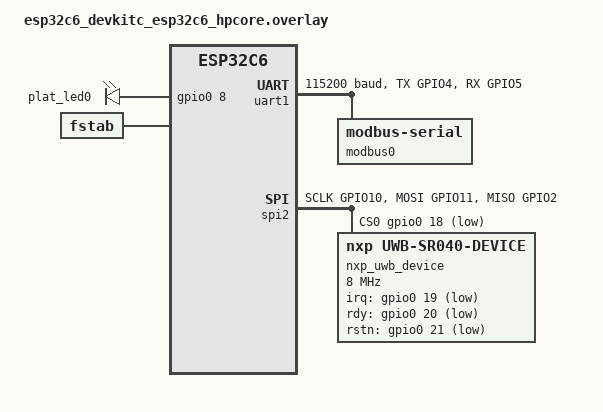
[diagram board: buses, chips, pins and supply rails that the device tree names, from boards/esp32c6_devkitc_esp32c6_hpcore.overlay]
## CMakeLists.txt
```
# SPDX-License-Identifier: Apache-2.0
#
# 冒烟应用（应用开发层）。
# 必须在 find_package(Zephyr) 之前挂接树外平台模块。

cmake_minimum_required(VERSION 3.20.0)

list(APPEND ZEPHYR_EXTRA_MODULES ${CMAKE_CURRENT_SOURCE_DIR}/../platform)

# Atmosic SDK（openair）提供 ATM34xx SoC 定义。当前工作区的 .west/config 以
# zephyr/west.yml 为清单，根 west.yml 中的 atmosic 项目不会被 west 发现，
# 故仅 atm3405 板卡显式挂接该模块（与 app/build_all.ps1 按板卡拆分的策略一致），
# 避免其他板卡加载 Atmosic 模块。
if(BOARD STREQUAL "atm3405_custom")
  list(APPEND ZEPHYR_EXTRA_MODULES ${CMAKE_CURRENT_SOURCE_DIR}/../modules/hal/atmosic)
endif()

# 将 esp-openocd 位置注入 CMake 变量（board.cmake 只认 CMake 变量，不认环境变量）。
# 路径来源（优先级从高到低，均不写死用户名/盘符）：
#   1) 环境变量 ESPRESSIF_TOOLCHAIN_PATH（指向 openocds 根，其下含 openocd-esp32）
#   2) %USERPROFILE%\.zinstaller\tools\openocds（Workbench 默认安装位置）
# 必须同时满足 board.cmake 的两步：
#   1) 正则校验 OPENOCD 路径以 ${ESPRESSIF_TOOLCHAIN_PATH}/ 开头（需正斜杠路径）
#   2) find_program 在 ${ESPRESSIF_TOOLCHAIN_PATH}/openocd-esp32/bin 下找到 openocd.exe
if(DEFINED ENV{ESPRESSIF_TOOLCHAIN_PATH} AND NOT "$ENV{ESPRESSIF_TOOLCHAIN_PATH}" STREQUAL "")
  file(TO_CMAKE_PATH "$ENV{ESPRESSIF_TOOLCHAIN_PATH}" _esp_openocd_root)
else()
  file(TO_CMAKE_PATH "$ENV{USERPROFILE}/.zinstaller/tools/openocds" _esp_openocd_root)
endif()
# 兼容旧写法：变量指向 openocd-esp32 子目录时上溯到 openocds 根
if(_esp_openocd_root MATCHES "openocd-esp32/?$")
  get_filename_component(_esp_openocd_root "${_esp_openocd_root}" DIRECTORY)
endif()
set(ESPRESSIF_TOOLCHAIN_PATH "${_esp_openocd_root}"
    CACHE PATH "Espressif toolchain root" FORCE)
set(OPENOCD "${_esp_openocd_root}/openocd-esp32/bin/openocd.exe"
    CACHE FILEPATH "OpenOCD executable" FORCE)
# 脚本搜索路径必须指向乐鑫 fork 版脚本（含 create_esp_target 等私有命令），
# 否则 Zephyr 会自动混入 SDK hosttools 里的原版 openocd 脚本导致版本错配。
set(OPENOCD_DEFAULT_PATH "${_esp_openocd_root}/openocd-esp32/share/openocd/scripts"
    CACHE PATH "OpenOCD scripts search path" FORCE)

# 首选环境变量 ZEPHYR_BASE；未设置时回退到工作区内的 zephyr/，
# 避免 pristine 构建（缓存被清空）时找不到 ZephyrConfig.cmake。
find_package(Zephyr REQUIRED HINTS $ENV{ZEPHYR_BASE} ${CMAKE_CURRENT_SOURCE_DIR}/../zephyr)
project(platform_smoke LANGUAGES C)

target_include_directories(app PRIVATE src)

target_sources(app PRIVATE
  src/main.c
  src/app_lifecycle.c
  src/app_state_machine.c
  src/app_kernel_demo.c
  src/app_services_demo.c
  src/app_middleware_demo.c
)

# 修复 nxp-uwbiot SDK 在 Zephyr 下 __NOP() 未定义（不改动厂商 SDK modules/）：
# SDK 的 halimpl 源码 phNxpUwb_Common.c 在 FreeRTOS 分支用 CMSIS 的 __NOP()，
# Zephyr 分支未提供，而 Zephyr 开启 -Werror=implicit-int 会报隐式声明错误。
# CMake 会丢弃"函数式"宏定义（__NOP()=arch_nop() 无法通过 -D 传递），故改用
# 强制包含兼容头（提供 __NOP() -> arch_nop()）的方式，与 modules/hal/espressif
# 的 zephyr_compat.h 机制相同。经 zephyr_interface 注入 INTERFACE 编译选项，
# 传播到 halimpl 等所有链接 zephyr_interface 的目标。
# 注：halimpl 由 nxp-uwbiot 模块以 zephyr_library_named() 延迟创建，配置阶段
# if(TARGET halimpl) 恒为 false，无法直接对其注入；故作用于 zephyr_interface。
set(UWB_SDK_COMPAT_H
    ${CMAKE_CURRENT_SOURCE_DIR}/../platform/include/platform/uwb_sdk_compat.h)
if(TARGET zephyr_interface)
  target_compile_options(zephyr_interface INTERFACE
    "SHELL:-include ${UWB_SDK_COMPAT_H}")
endif()
```

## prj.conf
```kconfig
#
# 平台冒烟应用通用配置（qemu_cortex_m3 / qemu_riscv64 共用）
# 板卡差异放在 boards/<board>.conf 与 boards/<board>.overlay
#

# ---- 内核服务层：线程/调度/事件 ------------------------------------------
CONFIG_MAIN_STACK_SIZE=2048
# FSM 延迟工作项运行在系统工作队列（64 位 RISC-V 下预留充足栈）
CONFIG_SYSTEM_WORKQUEUE_STACK_SIZE=2048
CONFIG_THREAD_NAME=y
CONFIG_THREAD_STACK_INFO=y
CONFIG_THREAD_MONITOR=y
CONFIG_THREAD_RUNTIME_STATS=y
CONFIG_EVENTS=y

# ---- 硬件抽象层：GPIO/UART/SPI/I2C ----------------------------------------
CONFIG_GPIO=y
CONFIG_SERIAL=y
# CONFIG_SPI 与 CONFIG_I2C 由板级 conf 按需启用（依赖具体外设节点）

# ---- 系统服务层：日志（多后端/级别控制）+ 串口 Shell ----------------------
CONFIG_LOG=y
# v4.4：日志级别为整数（0..4），3=INFO
CONFIG_LOG_DEFAULT_LEVEL=3
CONFIG_SHELL=y
CONFIG_SHELL_BACKEND_SERIAL=y
CONFIG_SHELL_STACK_SIZE=4096
CONFIG_DEBUG_THREAD_INFO=y

# ---- 存储中间件：settings KV，QEMU 下使用 RAM 后端 ------------------------
CONFIG_SETTINGS=y
CONFIG_SETTINGS_NONE=y

# ---- 平台框架（树外模块 platform/） ----------------------------------------
CONFIG_PLATFORM_SERVICES=y
CONFIG_PLAT_DEVICE_MGMT=y
CONFIG_PLAT_PM=y
CONFIG_PLAT_MW_STORAGE=y
CONFIG_PLAT_MW_DATA=y
# CONFIG_PLAT_MONITOR 在设备树存在 plat,platform-monitor 节点时默认 y
# 通信（Modbus）与 UWB（SR040）由板级 conf 按需启用（依赖具体外设节点）

# ---- 虚拟文件系统（LittleFS） ----------------------------------------------
# 需板级 overlay 提供 fstab 节点；QEMU 下无 flash 分区，故不默认启用
# CONFIG_FILE_SYSTEM=y
# CONFIG_FILE_SYSTEM_LITTLEFS=y
# CONFIG_FILE_SYSTEM_LIB_LINK=y
# CONFIG_PLAT_FS=y

# ---- 网络协议栈（IPv4 + MQTT） ----------------------------------------------
# 需板级 conf 启用 WiFi 及相应网络配置；无网络接口的平台不启用
# CONFIG_NETWORKING=y
# CONFIG_NET_IPV4=y
# CONFIG_WIFI=y
# CONFIG_MQTT_LIB=y
# CONFIG_PLAT_NET=y
```

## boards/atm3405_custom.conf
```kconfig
# atm3405_custom（ATM3405-WQK）板级差异配置

# ---- 外设驱动 --------------------------------------------------------------
# SPI 启用：UWB SR040 挂 SPI0（见 overlay nxp_uwb_device）；I2C 仍不启用
CONFIG_SPI=y
# CONFIG_I2C=y

# ---- 中间件：UWB（NXP SR040 @ SPI0） -----------------------------------------
CONFIG_NXP_UWB_ZEPHYR_MODULE=y
CONFIG_NXP_UWB_DEVICE_SR040=y
CONFIG_PLAT_MW_UWB=y
# SDK zephyr_generic 层用 spi_transceive_cb（异步 SPI），需启用
CONFIG_SPI_ASYNC=y

# ---- 虚拟文件系统 ----------------------------------------------------------
# RRAM 上的 LittleFS 需要 Atmosic 官方驱动适配，当前跳过
# CONFIG_FILE_SYSTEM is not set

# ---- 网络协议栈 ------------------------------------------------------------
# 无网络接口，预留
# CONFIG_PLAT_NET is not set

# ---- 电源管理（暂时关闭：sys_clock_correct 在 v4.4 不存在） ------------------
# CONFIG_PM=y
# CONFIG_PM_DEVICE_RUNTIME=y
```

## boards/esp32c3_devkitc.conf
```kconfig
# esp32c3_devkitc（乐鑫 ESP32-C3-DevKitC-02）板级差异配置
#
# 该板卡 defconfig 已默认启用：
#   CONFIG_CONSOLE=y, CONFIG_SERIAL=y, CONFIG_UART_CONSOLE=y, CONFIG_GPIO=y
# 因此此处无需重复声明。
#
# 与 esp32c6 相同，构建依赖 Python venv 中的 esptool>=5.0.2：
#   pip install "esptool>=5.0.2"
#
# 若通过 west flash 烧录且不使用 MCUboot，构建时可关闭 sysbuild：
#   west build -b esp32c3_devkitc app -- -DCONFIG_BOOTLOADER_MCUBOOT=n

# ---- 控制台与 shell 分离（配合 overlay 中的 chosen）----
# LOG 走独立 UART 日志后端（设备取自 zephyr,console = usb_serial，即 COM16），
# 不再借用 shell 后端，避免每条日志触发 shell 提示符重绘。
CONFIG_LOG_BACKEND_UART=y
# shell 已移至物理 UART0；关闭 shell 内嵌日志后端，防止日志同时出现在 shell 口。
CONFIG_SHELL_LOG_BACKEND=n
```

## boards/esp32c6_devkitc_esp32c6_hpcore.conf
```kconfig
# esp32c6_devkitc/esp32c6/hpcore（乐鑫 ESP32-C6-DevKitC-1）板级差异配置
#
# 该板卡 defconfig 已默认启用：
#   CONFIG_CONSOLE=y, CONFIG_SERIAL=y, CONFIG_UART_CONSOLE=y, CONFIG_GPIO=y
# 因此此处无需重复声明。
#
# 若通过 west flash 烧录且不使用 MCUboot，构建时可关闭 sysbuild：
#   west build -b esp32c6_devkitc/esp32c6/hpcore app -- -DCONFIG_BOOTLOADER_MCUBOOT=n
# 或添加 west 参数：--sysbuild=no
#
# 若使用 Workbench 构建，在 settings.json 的 build-args 中按需传入。

# ---- 网络协议栈：WiFi + IPv4 + MQTT ---------------------------------------
CONFIG_NETWORKING=y
CONFIG_NET_IPV4=y
CONFIG_NET_SOCKETS=y
CONFIG_WIFI=y
CONFIG_WIFI_ESP32=y
CONFIG_BUILD_ONLY_NO_BLOBS=y

# ---- MQTT 客户端库 ---------------------------------------------------------
CONFIG_MQTT_LIB=y
CONFIG_MQTT_KEEPALIVE=60

# ---- 虚拟文件系统（LittleFS） ----------------------------------------------
CONFIG_FLASH=y
CONFIG_FLASH_MAP=y
CONFIG_FILE_SYSTEM=y
CONFIG_FILE_SYSTEM_LITTLEFS=y
CONFIG_FILE_SYSTEM_LIB_LINK=y

# ---- 平台服务 --------------------------------------------------------------
CONFIG_PLAT_FS=y
CONFIG_PLAT_NET=y

# ---- 外设驱动 --------------------------------------------------------------
CONFIG_SPI=y
CONFIG_I2C=y

# ---- 中间件：Modbus RTU 主站（UART1 GPIO4/5，见 overlay modbus0） -----------
CONFIG_PLAT_MW_COMMUNICATION=y

# ---- 中间件：UWB（NXP SR040 @ SPI2，见 overlay nxp_uwb_device） --------------
CONFIG_NXP_UWB_ZEPHYR_MODULE=y
CONFIG_NXP_UWB_DEVICE_SR040=y
CONFIG_PLAT_MW_UWB=y
# SDK zephyr_generic 层用 spi_transceive_cb（异步 SPI），需启用
CONFIG_SPI_ASYNC=y

# ---- 存储：settings 文件后端（落 LittleFS /lfs） ---------------------------
CONFIG_SETTINGS_FILE=y
CONFIG_SETTINGS_NONE=n
```

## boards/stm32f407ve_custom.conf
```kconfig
# stm32f407ve_custom（STM32F407VET6）板级差异配置

# ---- 外设驱动 --------------------------------------------------------------
CONFIG_SPI=y
CONFIG_I2C=y

# ---- 虚拟文件系统（LittleFS） ----------------------------------------------
CONFIG_FLASH=y
CONFIG_FLASH_MAP=y
CONFIG_FILE_SYSTEM=y
CONFIG_FILE_SYSTEM_LITTLEFS=y
CONFIG_FILE_SYSTEM_LIB_LINK=y

# ---- 平台服务 --------------------------------------------------------------
CONFIG_PLAT_FS=y
# CONFIG_PLAT_NET is not set（无网络接口，预留）

# ---- 中间件：Modbus RTU 主站（USART2 PA2/PA3，见 overlay modbus0） ----------
CONFIG_PLAT_MW_COMMUNICATION=y

# ---- 中间件：UWB（NXP SR040 @ SPI1，见 overlay nxp_uwb_device） --------------
CONFIG_NXP_UWB_ZEPHYR_MODULE=y
CONFIG_NXP_UWB_DEVICE_SR040=y
CONFIG_PLAT_MW_UWB=y
# SDK zephyr_generic 层用 spi_transceive_cb（异步 SPI），需启用
CONFIG_SPI_ASYNC=y

# ---- 存储：settings 文件后端（落 LittleFS /lfs） ---------------------------
CONFIG_SETTINGS_FILE=y
CONFIG_SETTINGS_NONE=n
```

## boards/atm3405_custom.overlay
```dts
// SPDX-License-Identifier: Apache-2.0
//
// atm3405_custom（ATM3405-WQK，QFN 5x5，Cortex-M33F）板级设备树扩展：
//   - plat-led0：桥接到板级 led0（gpio0 pin7），供 app_kernel_demo 翻转
//   - platform-monitor：自研骨架驱动实例（纯软件设备，验证 DT_INST 实例化链路）
//   - SPI/I2C：SoC 已提供，当前未启用（无外部设备连接）

/ {
	aliases {
		plat-led0 = &led0;
	};

	plat_monitor0: platform-monitor {
		compatible = "plat,platform-monitor";
		report-interval-ms = <1000>;
		status = "okay";
	};
};

/* SPI0：UWB SR040（SCLK=P13 / MOSI=P14 / MISO=P15，CS=P12 软件 GPIO 控制）。
 * atmosic pinctrl 驱动对 pin/signal 组合自由路由（pinctrl_atm.c 未做校验）。 */
&pinctrl {
	spi0_clk_default: spi0_clk_default {
		pinmux = <13 PINMUX_SPI0_CLK>;
	};

	spi0_mosi_default: spi0_mosi_default {
		pinmux = <14 PINMUX_SPI0_MOSI>;
	};

	spi0_miso_default: spi0_miso_default {
		pinmux = <15 PINMUX_SPI0_MISO>;
	};
};

&spi0 {
	status = "okay";
	pinctrl-0 = <&spi0_clk_default &spi0_mosi_default &spi0_miso_default>;
	pinctrl-names = "default";
	cs-gpios = <&gpio0 12 GPIO_ACTIVE_LOW>;

	/* NXP SR040：label 必须为 nxp_uwb_device（SDK zephyr_generic 层 DT_NODELABEL 硬编码）。
	 * IRQ/RDY 低有效+上拉（SDK 配下降沿中断），RSTN 低有效（高=运行）。SPI 模式 CPOL=1。 */
	nxp_uwb_device: nxp_uwb_device@0 {
		compatible = "nxp,uwb-sr040-device";
		reg = <0>;
		spi-max-frequency = <8000000>;
		uwb,irq-gpios  = <&gpio0 29 (GPIO_ACTIVE_LOW | GPIO_PULL_UP)>;
		uwb,rdy-gpios  = <&gpio0 19 (GPIO_ACTIVE_LOW | GPIO_PULL_UP)>;
		uwb,rstn-gpios = <&gpio0 18 GPIO_ACTIVE_LOW>;
	};
};
```

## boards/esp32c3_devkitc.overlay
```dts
// SPDX-License-Identifier: Apache-2.0
//
// esp32c3_devkitc（乐鑫 ESP32-C3-DevKitC-02，32 位单核 RISC-V，WROOM-02 模组）
// 板级设备树扩展：
//   - plat-led0：复用片上 gpio0 的 8 脚（板载 WS2812 可寻址 RGB 灯的数据线）。
//     骨架按普通 GPIO 演示电平翻转（日志可见 led 状态变化）；WS2812 需要专用
//     单线协议，普通 GPIO 翻转不会产生可见闪烁，属预期现象。
//   - platform-monitor：自研骨架驱动实例（纯软件设备，验证 DT_INST 实例化链路）
//
// gpio0 控制器节点由 zephyr/dts/riscv/espressif/esp32c3/esp32c3_common.dtsi 提供，
// 板级 esp32c3_devkitc.dts 已将其 status = "okay"，此处直接引用。

#include <zephyr/dt-bindings/gpio/gpio.h>

/ {
	aliases {
		plat-led0 = &plat_led0;
	};

	chosen {
		/* 日志/控制台走内置 USB Serial/JTAG（GPIO18/19，PC 端 COM16，免外部器件）；
		 * Zephyr shell 独占物理 UART0（TX=GPIO21/RX=GPIO20，需外接 USB-TTL）。
		 * 两者分离后 LOG 不再经过 shell 后端，无提示符重绘噪声。 */
		zephyr,console = &usb_serial;
		zephyr,shell-uart = &uart0;
	};

	leds {
		compatible = "gpio-leds";
		plat_led0: plat-led0 {
			gpios = <&gpio0 8 GPIO_ACTIVE_HIGH>;
		};
	};

	plat_monitor0: platform-monitor {
		compatible = "plat,platform-monitor";
		report-interval-ms = <1000>;
		status = "okay";
	};
};
```

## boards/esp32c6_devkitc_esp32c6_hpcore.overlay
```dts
// SPDX-License-Identifier: Apache-2.0
//
// esp32c6_devkitc/esp32c6/hpcore（乐鑫 ESP32-C6-DevKitC-1，32 位 RISC-V HP 核）
// 板级设备树扩展：
//   - plat-led0：复用片上 gpio0 的 8 脚（DevKitC-1 板载 WS2812 RGB LED 数据线，
//                冒烟阶段按普通 GPIO 驱动；后续可切换 led_strip/WS2812 驱动）
//   - platform-monitor：自研骨架驱动实例（纯软件设备，验证 DT_INST 实例化链路）
//   - UART1：GPIO4(TX)/GPIO5(RX)，挂 Modbus RTU 主站（modbus0）
//   - fstab：LittleFS 挂载到 storage_partition（192KB @ 0x3b0000）
//
// gpio0 控制器节点由 zephyr/dts/riscv/espressif/esp32c6/esp32c6_common.dtsi 提供，
// 板级 esp32c6_devkitc_hpcore.dts 已将其 status = "okay"，此处直接引用。

#include <zephyr/dt-bindings/gpio/gpio.h>

/ {
	aliases {
		plat-led0 = &plat_led0;
	};

	leds {
		compatible = "gpio-leds";
		plat_led0: plat-led0 {
			gpios = <&gpio0 8 GPIO_ACTIVE_HIGH>;
		};
	};

	plat_monitor0: platform-monitor {
		compatible = "plat,platform-monitor";
		report-interval-ms = <1000>;
		status = "okay";
	};

	fstab {
		compatible = "zephyr,fstab";
		lfs0: lfs {
				compatible = "zephyr,fstab,littlefs";
				mount-point = "/lfs";
				partition = <&storage_partition>;
				read-size = <16>;
				prog-size = <16>;
				cache-size = <64>;
				lookahead-size = <32>;
				block-cycles = <512>;
				automount;
			};
	};
};

/* UART1：GPIO4(TX) / GPIO5(RX)，Modbus RTU 主站总线 */
&pinctrl {
	uart1_default: uart1_default {
		group1 {
			pinmux = <UART1_TX_GPIO4>;
		};
		group2 {
			pinmux = <UART1_RX_GPIO5>;
			bias-pull-up;
		};
	};
};

&uart1 {
	current-speed = <115200>;
	pinctrl-0 = <&uart1_default>;
	pinctrl-names = "default";
	status = "okay";

	modbus0: modbus0 {
		compatible = "zephyr,modbus-serial";
		status = "okay";
	};
};

/* SPI2：UWB SR040（SCLK=GPIO10 / MOSI=GPIO11 / MISO=GPIO2，CS=GPIO18 软件 GPIO 控制） */
&pinctrl {
	spi2_default: spi2_default {
		group1 {
			pinmux = <SPIM2_SCLK_GPIO10>;
		};
		group2 {
			pinmux = <SPIM2_MOSI_GPIO11>;
		};
		group3 {
			pinmux = <SPIM2_MISO_GPIO2>;
			bias-pull-up;
		};
	};
};

&spi2 {
	status = "okay";
	pinctrl-0 = <&spi2_default>;
	pinctrl-names = "default";
	cs-gpios = <&gpio0 18 GPIO_ACTIVE_LOW>;

	/* NXP SR040：label 必须为 nxp_uwb_device（SDK zephyr_generic 层 DT_NODELABEL 硬编码）。
	 * IRQ/RDY 低有效+上拉（SDK 配下降沿中断），RSTN 低有效（高=运行）。SPI 模式 CPOL=1。 */
	nxp_uwb_device: nxp_uwb_device@0 {
		compatible = "nxp,uwb-sr040-device";
		reg = <0>;
		spi-max-frequency = <8000000>;
		uwb,irq-gpios  = <&gpio0 19 (GPIO_ACTIVE_LOW | GPIO_PULL_UP)>;
		uwb,rdy-gpios  = <&gpio0 20 (GPIO_ACTIVE_LOW | GPIO_PULL_UP)>;
		uwb,rstn-gpios = <&gpio0 21 GPIO_ACTIVE_LOW>;
	};
};
```

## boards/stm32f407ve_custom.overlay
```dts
// SPDX-License-Identifier: Apache-2.0
//
// stm32f407ve_custom（STM32F407VET6，LQFP100，Cortex-M4）板级设备树扩展：
//   - plat-led0：桥接到板级 led0（PB9），供 app_kernel_demo 翻转
//   - platform-monitor：自研骨架驱动实例（纯软件设备，验证 DT_INST 实例化链路）
//   - SPI1：PA5(SCK)/PA6(MISO)/PA7(MOSI)，CS 由软件控制
//   - I2C1：PB6(SCL)/PB7(SDA)
//   - USART2：PA2(TX)/PA3(RX)，挂 Modbus RTU 主站（modbus0）
//   - flash 分区：划分 slot0（应用）+ storage（LittleFS）
//   - fstab：LittleFS 挂载到 storage_partition

#include <zephyr/dt-bindings/gpio/gpio.h>

/ {
	aliases {
		plat-led0 = &led0;
	};

	plat_monitor0: platform-monitor {
		compatible = "plat,platform-monitor";
		report-interval-ms = <1000>;
		status = "okay";
	};

	fstab {
		compatible = "zephyr,fstab";
		lfs0: lfs {
				compatible = "zephyr,fstab,littlefs";
				mount-point = "/lfs";
				partition = <&storage_partition>;
				read-size = <16>;
				prog-size = <16>;
				cache-size = <64>;
				lookahead-size = <32>;
				block-cycles = <512>;
				automount;
			};
	};
};

&flash0 {
	partitions {
		compatible = "fixed-partitions";
		#address-cells = <1>;
		#size-cells = <1>;

		/* 前 256KB 给应用（无 MCUboot 场景） */
		slot0_partition: partition@0 {
			label = "image-0";
			reg = <0x00000000 DT_SIZE_K(256)>;
		};

		/* 后 256KB 给 LittleFS */
		storage_partition: partition@40000 {
			label = "storage";
			reg = <0x00040000 DT_SIZE_K(256)>;
		};
	};
};

/* SPI1：PA5(SCK) / PA6(MISO) / PA7(MOSI)；UWB SR040 挂载（CS=PB0，SDK 层软件 GPIO 控制） */
&spi1 {
	pinctrl-0 = <&spi1_sck_pa5 &spi1_miso_pa6 &spi1_mosi_pa7>;
	pinctrl-names = "default";
	status = "okay";
	cs-gpios = <&gpiob 0 GPIO_ACTIVE_LOW>;

	/* NXP SR040：label 必须为 nxp_uwb_device（SDK zephyr_generic 层 DT_NODELABEL 硬编码）。
	 * IRQ/RDY 低有效+上拉（SDK 配下降沿中断），RSTN 低有效（高=运行）。SPI 模式 CPOL=1。 */
	nxp_uwb_device: nxp_uwb_device@0 {
		compatible = "nxp,uwb-sr040-device";
		reg = <0>;
		spi-max-frequency = <8000000>;
		uwb,irq-gpios  = <&gpiob 1 (GPIO_ACTIVE_LOW | GPIO_PULL_UP)>;
		uwb,rdy-gpios  = <&gpiob 5 (GPIO_ACTIVE_LOW | GPIO_PULL_UP)>;
		uwb,rstn-gpios = <&gpiob 8 GPIO_ACTIVE_LOW>;
	};
};

/* I2C1：PB6(SCL) / PB7(SDA) */
&i2c1 {
	pinctrl-0 = <&i2c1_scl_pb6 &i2c1_sda_pb7>;
	pinctrl-names = "default";
	clock-frequency = <I2C_BITRATE_FAST>;
	status = "okay";
};

/* USART2：PA2(TX) / PA3(RX)，Modbus RTU 主站总线 */
&usart2 {
	pinctrl-0 = <&usart2_tx_pa2 &usart2_rx_pa3>;
	pinctrl-names = "default";
	current-speed = <115200>;
	status = "okay";

	modbus0: modbus0 {
		compatible = "zephyr,modbus-serial";
		status = "okay";
	};
};
```

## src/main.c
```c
// SPDX-License-Identifier: Apache-2.0
/*
 * 平台框架双架构冒烟应用
 *
 * 架构图对应：
 *   硬件抽象层  ：plat_gpio 统一封装 + 自研 monitor 驱动 + 双架构 overlay
 *   内核服务层  ：线程/消息队列/事件/定时器/workqueue（app_kernel_demo）
 *   系统服务层  ：设备枚举、健康监测、日志、shell（platform 模块）
 *                + LittleFS / 网络 / PM（app_services_demo）
 *   应用开发层  ：应用生命周期、应用状态机、主循环调度、shell 命令
 *   版本兼容柱  ：plat_version.h / Kconfig.compat / check_version.py
 */

#include <zephyr/kernel.h>
#include <zephyr/version.h>
#include <zephyr/logging/log.h>
#include <zephyr/shell/shell.h>

#include <platform/plat_arch.h>

#include "app_lifecycle.h"
#include "app_state_machine.h"
#include "app_kernel_demo.h"
#include "app_services_demo.h"
#include "app_middleware_demo.h"

LOG_MODULE_REGISTER(app);

/* ---- 应用层 shell 命令：app state / app fault -------------------------- */

static int cmd_app_state(const struct shell *sh, size_t argc, char **argv)
{
	ARG_UNUSED(argc);
	ARG_UNUSED(argv);

	shell_print(sh, "fsm state: %s", app_fsm_state_name());
	return 0;
}

static int cmd_app_fault(const struct shell *sh, size_t argc, char **argv)
{
	ARG_UNUSED(argc);
	ARG_UNUSED(argv);

	shell_print(sh, "injecting fault event");
	app_fsm_dispatch(APP_EV_FAULT);
	return 0;
}

SHELL_STATIC_SUBCMD_SET_CREATE(
	app_sub,
	SHELL_CMD(state, NULL, "Show application FSM state", cmd_app_state),
	SHELL_CMD(fault, NULL, "Inject a fault into the FSM", cmd_app_fault),
	SHELL_SUBCMD_SET_END);

SHELL_CMD_REGISTER(app, &app_sub, "Smoke application commands", NULL);

/* ---- 应用入口与主循环调度 ---------------------------------------------- */

#define MAIN_LOOP_PERIOD_MS 100U

int main(void)
{
	app_lifecycle_boot_complete();
	app_fsm_init();
	app_kernel_demo_start();
	app_services_demo_start();
	app_middleware_demo_start();

	LOG_INF("Platform smoke started | arch=%s | zephyr=%s",
		PLAT_ARCH_NAME, KERNEL_VERSION_STRING);

	/* 架构图：应用框架 -> 主循环调度 */
	while (1) {
		app_fsm_tick();
		k_msleep(MAIN_LOOP_PERIOD_MS);
	}

	return 0;
}
```

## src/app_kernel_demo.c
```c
// SPDX-License-Identifier: Apache-2.0
/*
 * 架构图：内核服务层
 *   任务调度 / 同步原语 / 消息通信 / 事件通知 / 系统时钟
 *
 * 双线程生产者-消费者：
 *   producer 线程：周期翻转 plat-led0（HAL 统一封装），通过消息队列发送计数，
 *                  并用 k_event 通知消费者；
 *   consumer 线程：等待事件后从消息队列取数并记录；
 *   k_timer        ：周期计时，演示定时器中断回调；
 *   k_work         ：系统工作队列周期任务，演示延迟工作项。
 *
 * 同一份代码在 Cortex-M3（真 stellaris GPIO）与 RV64（gpio_emul）上运行。
 */

#include <zephyr/kernel.h>
#include <zephyr/logging/log.h>
#include <errno.h>

#include "app_kernel_demo.h"
#include <platform/plat_gpio.h>
#include <platform/plat_health.h>

#if defined(CONFIG_GPIO) && DT_NODE_HAS_STATUS(DT_ALIAS(plat_led0), okay)
#include <zephyr/drivers/gpio.h>
#define HAS_PLAT_LED 1
static const struct gpio_dt_spec plat_led =
	GPIO_DT_SPEC_GET(DT_ALIAS(plat_led0), gpios);
#else
#define HAS_PLAT_LED 0
#endif

LOG_MODULE_REGISTER(kernel_demo);

#define PRODUCER_PERIOD_MS 1000U
#define WORK_PERIOD_MS     2000U
#define TIMER_PERIOD_MS    500U
#define MSGQ_ITEMS         8U
#define THREAD_STACK_SIZE  4096
#define PRODUCER_PRIO      5
#define CONSUMER_PRIO      6

#define EV_DATA_READY BIT(0)

struct demo_msg {
	uint32_t sequence;
	uint32_t led_state;
};

K_MSGQ_DEFINE(demo_msgq, sizeof(struct demo_msg), MSGQ_ITEMS, 4);

static struct k_event demo_event;
static struct k_timer demo_timer;
static struct k_work_delayable demo_work;
static atomic_t timer_ticks;
static atomic_t work_runs;

K_THREAD_STACK_DEFINE(producer_stack, THREAD_STACK_SIZE);
K_THREAD_STACK_DEFINE(consumer_stack, THREAD_STACK_SIZE);
static struct k_thread producer_thread;
static struct k_thread consumer_thread;

static void timer_expiry_handler(struct k_timer *timer)
{
	ARG_UNUSED(timer);
	atomic_inc(&timer_ticks);
}

static void work_handler(struct k_work *work)
{
	ARG_UNUSED(work);
	atomic_inc(&work_runs);
	LOG_INF("[work] alive, runs=%u timer_ticks=%u",
		(uint32_t)atomic_get(&work_runs),
		(uint32_t)atomic_get(&timer_ticks));
	(void)k_work_reschedule(&demo_work, K_MSEC(WORK_PERIOD_MS));
}

static void producer_entry(void *p1, void *p2, void *p3)
{
	static uint32_t sequence;
	struct demo_msg msg;

	ARG_UNUSED(p1);
	ARG_UNUSED(p2);
	ARG_UNUSED(p3);

#if HAS_PLAT_LED
	int ret = plat_gpio_output_init(&plat_led);

	if (ret != 0) {
		LOG_ERR("plat-led0 init failed: %d", ret);
		plat_health_report_error("led", ret);
	}
#endif

	while (1) {
		k_msleep(PRODUCER_PERIOD_MS);

#if HAS_PLAT_LED
		int led = plat_led_toggle(&plat_led);

		if (led < 0) {
			plat_health_report_error("led", led);
			led = 0;
		}
		msg.led_state = (uint32_t)led;
#else
		msg.led_state = 0U;
#endif
		msg.sequence = sequence++;

		while (k_msgq_put(&demo_msgq, &msg, K_NO_WAIT) != 0) {
			/* 队列满：丢弃最旧一条，演示异常处理路径 */
			struct demo_msg dropped;

			(void)k_msgq_get(&demo_msgq, &dropped, K_NO_WAIT);
			plat_health_report_error("msgq", -ENOSPC);
		}
		k_event_set(&demo_event, EV_DATA_READY);
	}
}

static void consumer_entry(void *p1, void *p2, void *p3)
{
	struct demo_msg msg;

	ARG_UNUSED(p1);
	ARG_UNUSED(p2);
	ARG_UNUSED(p3);

	while (1) {
		(void)k_event_wait(&demo_event, EV_DATA_READY, true, K_FOREVER);

		while (k_msgq_get(&demo_msgq, &msg, K_NO_WAIT) == 0) {
			LOG_INF("[consumer] seq=%u led=%u (qslots=%u)",
				msg.sequence, msg.led_state,
				(uint32_t)k_msgq_num_free_get(&demo_msgq));
		}
	}
}

void app_kernel_demo_start(void)
{
	k_event_init(&demo_event);
	k_timer_init(&demo_timer, timer_expiry_handler, NULL);
	k_work_init_delayable(&demo_work, work_handler);

	k_timer_start(&demo_timer, K_MSEC(TIMER_PERIOD_MS),
		      K_MSEC(TIMER_PERIOD_MS));
	(void)k_work_schedule(&demo_work, K_MSEC(WORK_PERIOD_MS));

	k_thread_create(&producer_thread, producer_stack,
			K_THREAD_STACK_SIZEOF(producer_stack),
			producer_entry, NULL, NULL, NULL,
			PRODUCER_PRIO, 0, K_NO_WAIT);
	k_thread_name_set(&producer_thread, "producer");

	k_thread_create(&consumer_thread, consumer_stack,
			K_THREAD_STACK_SIZEOF(consumer_stack),
			consumer_entry, NULL, NULL, NULL,
			CONSUMER_PRIO, 0, K_NO_WAIT);
	k_thread_name_set(&consumer_thread, "consumer");

	LOG_INF("[kernel-demo] threads/timer/work started");
}
```

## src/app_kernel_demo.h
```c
/* SPDX-License-Identifier: Apache-2.0 */
/*
 * 架构图：内核服务层演示
 */
#ifndef APP_KERNEL_DEMO_H_
#define APP_KERNEL_DEMO_H_

/** 启动生产者/消费者线程与定时器/工作队列（main 中调用一次） */
void app_kernel_demo_start(void);

#endif /* APP_KERNEL_DEMO_H_ */
```

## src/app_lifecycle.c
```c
// SPDX-License-Identifier: Apache-2.0
/*
 * 架构图：应用开发层 -> 应用框架
 *   应用生命周期管理 / 资源回收与异常处理
 *
 * 演示 Zephyr 分阶段初始化流水线中应用钩子的挂载方式：
 *   EARLY -> PRE_KERNEL_1/2 -> POST_KERNEL -> APPLICATION -> main()
 */

#include <zephyr/kernel.h>
#include <zephyr/init.h>
#include <zephyr/logging/log.h>

#include "app_lifecycle.h"

LOG_MODULE_REGISTER(app_lifecycle);

/* POST_KERNEL：硬件与平台设备初始化完成，进入应用准备阶段 */
static int app_lifecycle_post_kernel(void)
{
	LOG_INF("[lifecycle] POST_KERNEL: drivers ready, app preparing");
	return 0;
}
SYS_INIT(app_lifecycle_post_kernel, POST_KERNEL, 60);

/* APPLICATION（早于平台核心 40 之外的其他服务按需排序） */
static int app_lifecycle_application(void)
{
	LOG_INF("[lifecycle] APPLICATION: services initialized");
	return 0;
}
SYS_INIT(app_lifecycle_application, APPLICATION, 5);

void app_lifecycle_boot_complete(void)
{
	LOG_INF("[lifecycle] main entered, application is RUNNING");
}
```

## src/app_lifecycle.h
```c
/* SPDX-License-Identifier: Apache-2.0 */
/*
 * 架构图：应用开发层 -> 应用框架 -> 应用生命周期管理
 */
#ifndef APP_LIFECYCLE_H_
#define APP_LIFECYCLE_H_

/** main() 入口调用：标志内核/平台初始化全部完成，应用主循环开始 */
void app_lifecycle_boot_complete(void);

#endif /* APP_LIFECYCLE_H_ */
```

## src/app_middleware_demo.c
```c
// SPDX-License-Identifier: Apache-2.0
/*
 * 架构图：应用开发层 -> 中间件演示
 *
 *   - 存储：plat_kv 键值（u32 + blob + delete）
 *   - 数据：JSON 描述符编解码、CBOR 流式编码
 *   - 通信：Modbus RTU 主站（需从站在线，演示仅记录结果）
 *   - UWB ：SR040 init/设备信息/会话（需板级接线，未接线时返回 -ENODEV）
 */

#include <zephyr/kernel.h>
#include <zephyr/logging/log.h>
#include <string.h>

#include <platform/plat_kv.h>
#include <platform/plat_data.h>
#if defined(CONFIG_PLAT_MW_COMMUNICATION)
#include <platform/plat_modbus.h>
#endif
#if defined(CONFIG_PLAT_MW_UWB)
#include <platform/plat_uwb.h>
#endif

#include "app_middleware_demo.h"

LOG_MODULE_REGISTER(middleware_demo);

/* ---- 存储中间件（KV） ------------------------------------------------------ */

static void demo_kv(void)
{
	uint32_t counter = 0;
	uint8_t blob[16] = "plat-blob-demo";
	uint8_t readback[PLAT_KV_MAX_VAL_LEN];
	size_t blob_len = 0;
	int ret;

	ret = plat_kv_get_u32("plat/mw/demo/counter", &counter);
	if (ret == 0) {
		counter++;
	} else {
		counter = 1;
	}
	ret = plat_kv_set_u32("plat/mw/demo/counter", counter);
	LOG_INF("KV counter set=%d value=%u", ret, counter);

	ret = plat_kv_set_blob("plat/mw/demo/blob", blob, 14);
	if (ret == 0) {
		ret = plat_kv_get_blob("plat/mw/demo/blob", readback, sizeof(readback), &blob_len);
	}
	if (ret == 0) {
		readback[blob_len] = '\0';
		LOG_INF("KV blob readback (%u bytes): %s", blob_len, readback);
	} else {
		LOG_ERR("KV blob failed: %d", ret);
	}

	ret = plat_kv_delete("plat/mw/demo/blob");
	LOG_INF("KV blob delete=%d, get again=%d", ret,
		plat_kv_get_blob("plat/mw/demo/blob", readback, sizeof(readback), &blob_len));
}

/* ---- 数据中间件（JSON / CBOR） --------------------------------------------- */

struct demo_point {
	uint16_t seq;
	int32_t temp;
	bool valid;
};

static const struct json_obj_descr demo_point_descr[] = {
	JSON_OBJ_DESCR_PRIM(struct demo_point, seq, JSON_TOK_NUMBER),
	JSON_OBJ_DESCR_PRIM(struct demo_point, temp, JSON_TOK_NUMBER),
	JSON_OBJ_DESCR_PRIM(struct demo_point, valid, JSON_TOK_TRUE),
};

static void demo_json(void)
{
	struct demo_point point = { .seq = 42, .temp = -1250, .valid = true };
	struct demo_point parsed = { 0 };
	char buf[128];
	int ret;

	ret = plat_data_json_encode(demo_point_descr, ARRAY_SIZE(demo_point_descr), &point, buf,
				    sizeof(buf));
	if (ret != 0) {
		LOG_ERR("JSON encode failed: %d", ret);
		return;
	}
	LOG_INF("JSON: %s", buf);

	ret = plat_data_json_decode(demo_point_descr, ARRAY_SIZE(demo_point_descr), buf,
				    strlen(buf), &parsed);
	LOG_INF("JSON parse=%d seq=%u temp=%d valid=%d", ret, parsed.seq, parsed.temp,
		parsed.valid);
}

static void demo_cbor(void)
{
	struct plat_data_cbor cbor;
	uint8_t buf[128];
	size_t len = 0;
	int ret;

	ret = plat_data_cbor_encoder_init(&cbor, buf, sizeof(buf));
	if (ret == 0) {
		ret |= plat_data_cbor_map_open(&cbor, 3);
		ret |= plat_data_cbor_key_str(&cbor, "seq");
		ret |= plat_data_cbor_put_u32(&cbor, 42);
		ret |= plat_data_cbor_key_str(&cbor, "temp");
		ret |= plat_data_cbor_put_i32(&cbor, -1250);
		ret |= plat_data_cbor_key_str(&cbor, "valid");
		ret |= plat_data_cbor_put_bool(&cbor, true);
		ret |= plat_data_cbor_map_close(&cbor);
		ret |= plat_data_cbor_finish(&cbor, &len);
	}
	if (ret == 0) {
		LOG_INF("CBOR encoded %u bytes: %02x %02x %02x %02x ...", len, buf[0], buf[1],
			buf[2], buf[3]);
	} else {
		LOG_ERR("CBOR encode failed: %d", ret);
	}
}

/* ---- 通信中间件（Modbus RTU 主站） ----------------------------------------- */

#if defined(CONFIG_PLAT_MW_COMMUNICATION)

static void demo_modbus(void)
{
	const struct plat_modbus_config cfg = {
		.iface_name = "modbus0",
		.baudrate = 115200,
		.parity = PLAT_MODBUS_PARITY_NONE,
		.stop_bits = 1,
		.rx_timeout_ms = 200,
	};
	uint16_t regs[8] = { 0 };
	int ret;

	ret = plat_modbus_client_init(&cfg);
	if (ret != 0) {
		LOG_ERR("Modbus client init failed: %d", ret);
		return;
	}

	/* 从站地址 1 的保持寄存器 0x0000 起 4 个；无从站在线时超时报错，属预期 */
	ret = plat_modbus_read_holding(1, 0x0000, regs, 4);
	LOG_INF("Modbus read_holding ret=%d regs=%04x %04x %04x %04x", ret, regs[0], regs[1],
		regs[2], regs[3]);
}

#else
static void demo_modbus(void)
{
	LOG_WRN("Modbus middleware not enabled on this platform");
}
#endif

/* ---- UWB 中间件（SR040） --------------------------------------------------- */

#if defined(CONFIG_PLAT_MW_UWB)

static void demo_uwb(void)
{
#if DT_NODE_EXISTS(DT_NODELABEL(nxp_uwb_device))
	struct plat_uwb_dev_info info;
	uint32_t handle = 0;
	int ret;

	ret = plat_uwb_init();
	if (ret != 0) {
		LOG_ERR("UWB init failed: %d", ret);
		return;
	}

	ret = plat_uwb_get_device_info(&info);
	if (ret == 0) {
		LOG_INF("UWB dev: name=%s sn=%s fw=%u.%u.%u", info.dev_name, info.serial_no,
			info.fw_major, info.fw_minor, info.fw_patch);
	} else {
		LOG_WRN("UWB get_device_info failed: %d", ret);
	}

	ret = plat_uwb_session_start(1, &handle);
	if (ret == 0) {
		LOG_INF("UWB session running, handle=0x%08x", handle);
	} else {
		LOG_WRN("UWB session start failed: %d", ret);
	}
#else
	LOG_WRN("SR040 not wired on this board (no nxp_uwb_device DT node): %d", -ENODEV);
#endif
}

#else
static void demo_uwb(void)
{
	LOG_WRN("UWB middleware not enabled on this platform");
}
#endif

void app_middleware_demo_start(void)
{
	demo_kv();
	demo_json();
	demo_cbor();
	demo_modbus();
	demo_uwb();
}
```

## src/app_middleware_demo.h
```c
/* SPDX-License-Identifier: Apache-2.0 */
/*
 * 架构图：应用开发层 -> 中间件演示入口
 *
 * 本文件演示平台中间件的使用：
 *   - 存储中间件：KV 键值存取（plat_kv_*，基于 settings）
 *   - 数据中间件：JSON 编解码 + CBOR 流式编码（plat_data_*）
 *   - 通信中间件：Modbus RTU 主站读保持寄存器（plat_modbus_*）
 *   - UWB 中间件：SR040 初始化/设备信息/测距会话（plat_uwb_*）
 */
#ifndef APP_MIDDLEWARE_DEMO_H_
#define APP_MIDDLEWARE_DEMO_H_

/**
 * 启动中间件演示（KV / JSON+CBOR / Modbus / UWB）
 * 在 main() 中调用一次即可。
 */
void app_middleware_demo_start(void);

#endif /* APP_MIDDLEWARE_DEMO_H_ */
```

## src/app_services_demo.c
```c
// SPDX-License-Identifier: Apache-2.0
/*
 * 架构图：系统服务层 -> 设备管理 / 虚拟文件系统 / 网络协议栈
 *
 * 本文件演示平台系统服务的使用：
 *   - LittleFS 文件读写（plat_fs_*）
 *   - 网络连接 + MQTT 发布/订阅（plat_net_*）
 *   - 设备运行时电源管理（plat_pm_*）
 */

#include <zephyr/kernel.h>
#include <zephyr/logging/log.h>
#include <string.h>

#include <platform/plat_fs.h>
#include <platform/plat_net.h>
#include <platform/plat_pm.h>
#include <platform/plat_device.h>

#include "app_services_demo.h"

LOG_MODULE_REGISTER(services_demo);

/* ---- LittleFS 演示 -------------------------------------------------------- */

#if defined(CONFIG_PLAT_FS)

static void demo_filesystem(void)
{
	const char *test_path = "/lfs/platform_test.txt";
	const char *test_data = "Hello from Platform Framework!";
	char read_buf[64];
	int ret;

	ret = plat_fs_mount();
	if (ret != 0) {
		LOG_WRN("LittleFS not available: %d", ret);
		return;
	}

	ret = plat_fs_write_file(test_path, test_data, strlen(test_data));
	if (ret != 0) {
		LOG_ERR("FS write failed: %d", ret);
		return;
	}

	ret = plat_fs_read_file(test_path, read_buf, sizeof(read_buf) - 1);
	if (ret > 0) {
		read_buf[ret] = '\0';
		LOG_INF("FS read back: %s", read_buf);
	} else {
		LOG_ERR("FS read failed: %d", ret);
	}

	ret = plat_fs_file_size(test_path);
	LOG_INF("FS file size: %d bytes", ret);

	(void)plat_fs_delete_file(test_path);
}

#else
static void demo_filesystem(void)
{
	LOG_WRN("LittleFS not enabled on this platform");
}
#endif

/* ---- 网络/MQTT 演示 -------------------------------------------------------- */

#if defined(CONFIG_PLAT_NET) && defined(CONFIG_WIFI)

static void mqtt_rx_handler(const char *topic, uint16_t topic_len,
			    const uint8_t *payload, uint16_t payload_len,
			    void *user_data)
{
	ARG_UNUSED(user_data);

	LOG_INF("MQTT RX: topic=%.*s payload=%.*s",
		topic_len, topic, payload_len, payload);
}

static void demo_network(void)
{
	int ret;

	ret = plat_net_init();
	if (ret != 0) {
		LOG_WRN("Network init failed: %d", ret);
		return;
	}

	/* 实际使用时替换为真实 WiFi 凭据和 broker 地址 */
	ret = plat_net_connect("YOUR_SSID", "YOUR_PASSWORD");
	if (ret != 0) {
		LOG_WRN("Network connect failed: %d (expected in demo)", ret);
		return;
	}

	ret = plat_net_mqtt_connect("192.168.1.100", 1883, "zephyr-client",
				    mqtt_rx_handler, NULL);
	if (ret != 0) {
		LOG_WRN("MQTT connect failed: %d", ret);
		return;
	}

	(void)plat_net_mqtt_subscribe("zephyr/demo/rx", 0);
	(void)plat_net_mqtt_publish("zephyr/demo/tx",
				    (const uint8_t *)"hello", 5, 0);

	LOG_INF("MQTT demo running...");
}

#else
static void demo_network(void)
{
	LOG_WRN("Network not enabled on this platform");
}
#endif

/* ---- 设备电源管理演示 ------------------------------------------------------ */

#if defined(CONFIG_PLAT_PM)

static void demo_pm_runtime(void)
{
	int ret;
	int count = 0;

	/* 遍历设备，对支持 PM 的设备执行 get/put 演示 */
	STRUCT_SECTION_FOREACH(device, dev) {
		if (plat_pm_is_enabled(dev)) {
			ret = plat_pm_get(dev);
			if (ret == 0) {
				(void)plat_pm_put(dev);
				count++;
			}
		}
	}

	LOG_INF("PM runtime demo: %d devices support runtime PM", count);
}

#else
static void demo_pm_runtime(void)
{
	LOG_WRN("PM runtime not enabled");
}
#endif

/* ---- 入口 ------------------------------------------------------------------ */

void app_services_demo_start(void)
{
	LOG_INF("=== System services demo ===");

	demo_filesystem();
	demo_network();
	demo_pm_runtime();

	LOG_INF("=== System services demo done ===");
}
```

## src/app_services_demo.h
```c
/* SPDX-License-Identifier: Apache-2.0 */
/*
 * 架构图：系统服务层演示入口
 */
#ifndef APP_SERVICES_DEMO_H_
#define APP_SERVICES_DEMO_H_

/**
 * 启动系统服务演示（LittleFS / 网络 / PM）
 * 在 main() 中调用一次即可。
 */
void app_services_demo_start(void);

#endif /* APP_SERVICES_DEMO_H_ */
```

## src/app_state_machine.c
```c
// SPDX-License-Identifier: Apache-2.0
/*
 * 架构图：应用开发层 -> 应用框架 -> 应用状态机 / 资源回收与异常处理
 *
 * 状态流：
 *   INIT --(init)------> SELFTEST --(selftest pass, 2s)--> RUNNING
 *                              RUNNING --(fault)--> DEGRADED
 *                              DEGRADED --(recover, 3s)--> RUNNING
 *
 * 异步迁移由系统工作队列（k_work_delayable）驱动；主循环周期性心跳由
 * app_fsm_tick() 驱动，体现“主循环调度”。
 */

#include <zephyr/kernel.h>
#include <zephyr/logging/log.h>
#include <errno.h>

#include "app_state_machine.h"

LOG_MODULE_REGISTER(app_fsm);

#define SELFTEST_DELAY_MS  2000U
#define RECOVER_DELAY_MS   3000U
#define HEARTBEAT_PERIOD_MS 5000U

static enum app_fsm_state current;
static struct k_work_delayable selftest_work;
static struct k_work_delayable recover_work;
static uint32_t last_heartbeat_ms;

static const char *const state_names[] = {
	[APP_STATE_INIT] = "INIT",
	[APP_STATE_SELFTEST] = "SELFTEST",
	[APP_STATE_RUNNING] = "RUNNING",
	[APP_STATE_DEGRADED] = "DEGRADED",
};

static void transition(enum app_fsm_state next)
{
	if (next == current) {
		return;
	}
	LOG_INF("[fsm] %s -> %s", state_names[current], state_names[next]);
	current = next;
}

static void selftest_handler(struct k_work *work)
{
	ARG_UNUSED(work);
	app_fsm_dispatch(APP_EV_SELFTEST_PASS);
}

static void recover_handler(struct k_work *work)
{
	ARG_UNUSED(work);
	app_fsm_dispatch(APP_EV_RECOVER);
}

void app_fsm_init(void)
{
	current = APP_STATE_INIT;
	k_work_init_delayable(&selftest_work, selftest_handler);
	k_work_init_delayable(&recover_work, recover_handler);

	transition(APP_STATE_SELFTEST);
	(void)k_work_schedule(&selftest_work, K_MSEC(SELFTEST_DELAY_MS));
}

void app_fsm_dispatch(enum app_fsm_event event)
{
	switch (current) {
	case APP_STATE_SELFTEST:
		if (event == APP_EV_SELFTEST_PASS) {
			transition(APP_STATE_RUNNING);
			last_heartbeat_ms = k_uptime_get_32();
		}
		break;
	case APP_STATE_RUNNING:
		if (event == APP_EV_FAULT) {
			transition(APP_STATE_DEGRADED);
			(void)k_work_schedule(&recover_work,
					      K_MSEC(RECOVER_DELAY_MS));
		}
		break;
	case APP_STATE_DEGRADED:
		if (event == APP_EV_RECOVER) {
			transition(APP_STATE_RUNNING);
			last_heartbeat_ms = k_uptime_get_32();
		}
		break;
	default:
		LOG_WRN("[fsm] event %d ignored in state %s", event,
			state_names[current]);
		break;
	}
}

void app_fsm_tick(void)
{
	if (current != APP_STATE_RUNNING) {
		return;
	}
	if ((k_uptime_get_32() - last_heartbeat_ms) < HEARTBEAT_PERIOD_MS) {
		return;
	}
	last_heartbeat_ms = k_uptime_get_32();
	LOG_INF("[fsm] heartbeat, state=RUNNING, uptime=%u ms",
		k_uptime_get_32());
}

enum app_fsm_state app_fsm_state(void)
{
	return current;
}

const char *app_fsm_state_name(void)
{
	return state_names[current];
}
```

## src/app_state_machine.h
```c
/* SPDX-License-Identifier: Apache-2.0 */
/*
 * 架构图：应用开发层 -> 应用框架 -> 应用状态机
 */
#ifndef APP_STATE_MACHINE_H_
#define APP_STATE_MACHINE_H_

enum app_fsm_state {
	APP_STATE_INIT = 0,
	APP_STATE_SELFTEST,
	APP_STATE_RUNNING,
	APP_STATE_DEGRADED,
};

enum app_fsm_event {
	APP_EV_SELFTEST_PASS,
	APP_EV_FAULT,
	APP_EV_RECOVER,
};

void app_fsm_init(void);
void app_fsm_dispatch(enum app_fsm_event event);
void app_fsm_tick(void);
enum app_fsm_state app_fsm_state(void);
const char *app_fsm_state_name(void);

#endif /* APP_STATE_MACHINE_H_ */
```
